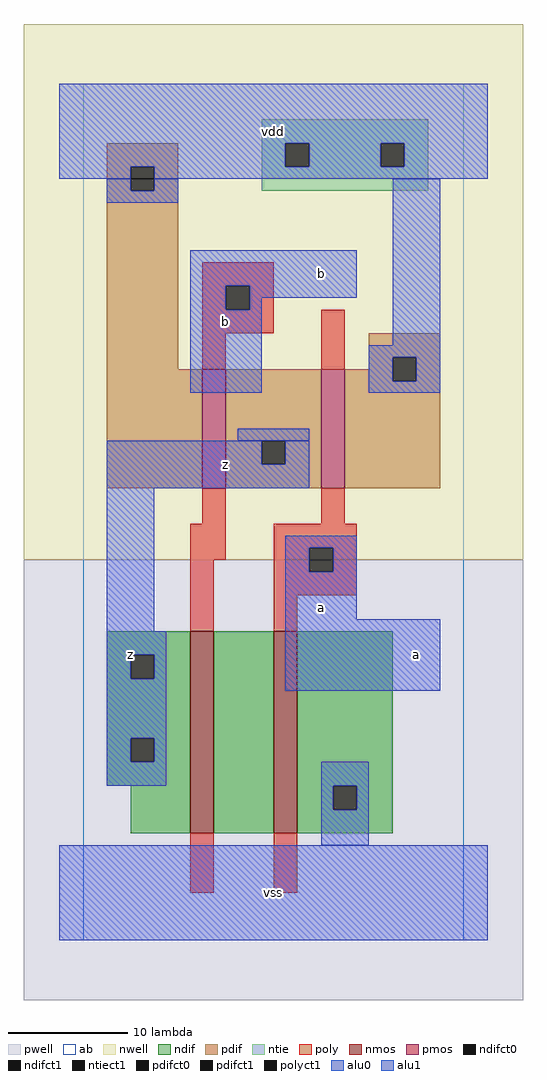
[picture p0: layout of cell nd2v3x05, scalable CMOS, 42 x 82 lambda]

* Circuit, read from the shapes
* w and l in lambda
.subckt nd2v3x05 a b vdd vss z
M1 n1 b z VSUBS nfet w=17 l=2
M2 vss a n1 VSUBS nfet w=17 l=2
M3 z b vdd vdd pfet w=10 l=2
M4 vdd a z vdd pfet w=10 l=2
.ends

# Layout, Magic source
magic
tech scmos
<< ab >>
rect 0 0 32 72
<< nwell >>
rect -5 32 37 77
<< pwell >>
rect -5 -5 37 32
<< poly >>
rect 10 55 16 57
rect 10 53 12 55
rect 14 53 16 55
rect 10 51 16 53
rect 10 48 12 51
rect 20 48 22 53
rect 10 35 12 38
rect 20 35 22 38
rect 9 32 12 35
rect 16 33 23 35
rect 9 26 11 32
rect 16 31 19 33
rect 21 31 23 33
rect 16 29 23 31
rect 16 26 18 29
rect 9 4 11 9
rect 16 4 18 9
<< ndif >>
rect 2 24 9 26
rect 2 22 4 24
rect 6 22 9 24
rect 2 17 9 22
rect 2 15 4 17
rect 6 15 9 17
rect 2 13 9 15
rect 4 9 9 13
rect 11 9 16 26
rect 18 13 26 26
rect 18 11 21 13
rect 23 11 26 13
rect 18 9 26 11
<< pdif >>
rect 2 65 8 67
rect 2 63 4 65
rect 6 63 8 65
rect 2 48 8 63
rect 24 49 30 51
rect 24 48 26 49
rect 2 38 10 48
rect 12 42 20 48
rect 12 40 15 42
rect 17 40 20 42
rect 12 38 20 40
rect 22 47 26 48
rect 28 47 30 49
rect 22 38 30 47
<< alu1 >>
rect -2 67 34 72
rect -2 65 17 67
rect 19 65 25 67
rect 27 65 34 67
rect -2 64 4 65
rect 6 64 34 65
rect 9 55 23 58
rect 9 53 12 55
rect 14 54 23 55
rect 14 53 15 54
rect 9 46 15 53
rect 2 40 15 42
rect 17 40 19 42
rect 2 38 19 40
rect 2 26 6 38
rect 17 33 23 34
rect 17 31 19 33
rect 21 31 23 33
rect 17 27 23 31
rect 2 24 7 26
rect 2 22 4 24
rect 6 22 7 24
rect 2 17 7 22
rect 17 21 30 27
rect 2 15 4 17
rect 6 15 7 17
rect 2 13 7 15
rect -2 0 34 8
<< ntie >>
rect 15 67 29 69
rect 15 65 17 67
rect 19 65 25 67
rect 27 65 29 67
rect 15 63 29 65
<< nmos >>
rect 9 9 11 26
rect 16 9 18 26
<< pmos >>
rect 10 38 12 48
rect 20 38 22 48
<< polyct1 >>
rect 12 53 14 55
rect 19 31 21 33
<< ndifct0 >>
rect 21 11 23 13
<< ndifct1 >>
rect 4 22 6 24
rect 4 15 6 17
<< ntiect1 >>
rect 17 65 19 67
rect 25 65 27 67
<< pdifct0 >>
rect 4 63 6 64
rect 26 47 28 49
<< pdifct1 >>
rect 4 64 6 65
rect 15 40 17 42
<< alu0 >>
rect 2 63 4 64
rect 6 63 8 64
rect 2 62 8 63
rect 26 50 30 64
rect 24 49 30 50
rect 24 47 26 49
rect 28 47 30 49
rect 24 46 30 47
rect 13 42 19 43
rect 20 13 24 15
rect 20 11 21 13
rect 23 11 24 13
rect 20 8 24 11
<< labels >>
rlabel alu1 4 24 4 24 6 z
rlabel alu1 12 40 12 40 6 z
rlabel alu1 12 52 12 52 6 b
rlabel alu1 16 4 16 4 6 vss
rlabel alu1 20 28 20 28 6 a
rlabel alu1 20 56 20 56 6 b
rlabel alu1 16 68 16 68 6 vdd
rlabel alu1 28 24 28 24 6 a
<< end >>
